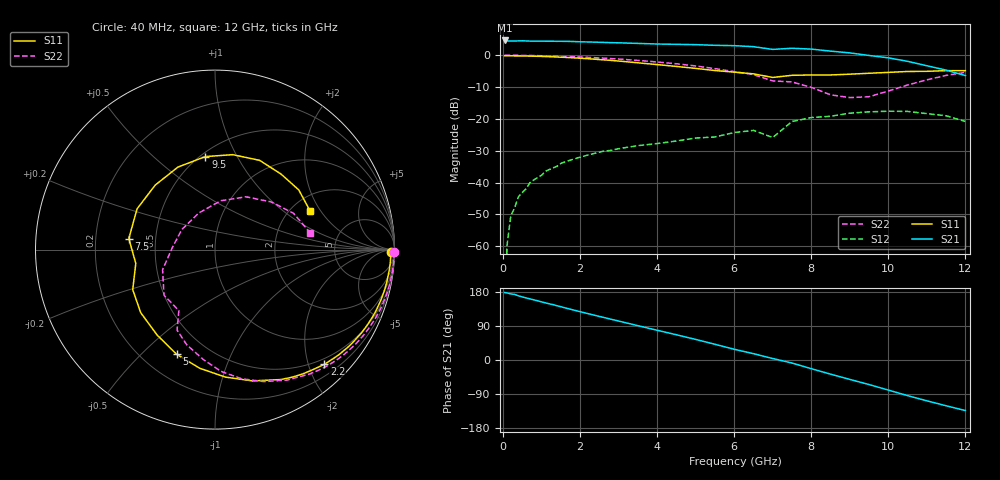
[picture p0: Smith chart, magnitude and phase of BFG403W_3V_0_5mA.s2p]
! BFG403W
! V1=8.248E-001V,V2=3.000E+000V, I1=6.127E-006A, I2=5.000E-004A
# GHz  S  MA  R 50
!  S11  S21  S12  S22
!Freq(GHz)  Mag  Ang  Mag  Ang  Mag  Ang  Mag  Ang
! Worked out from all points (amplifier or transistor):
!   44 points, 40 MHz to 12 GHz, reference 50 ohm
!   highest |S21| = 4.6 dB at 40 MHz (marker M1)
!   |S21| within 3 dB of that: start of sweep to 8.222 GHz
!   S11 on the Smith chart (normalised r, x): 40 MHz: 62, -45; 2.2 GHz: 0.39, -2.28; 5 GHz: 0.34, -0.64; 7.5 GHz: 0.35, +0.06; 9.5 GHz: 0.53, +0.75; 12 GHz: 2.51, +1.61
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0.04  0.979 -0.9  1.708 178.1  0 67.8  0.999 -0.7
0.1  0.98 -2.2  1.676 177.0  0.001 94.3  0.998 -1.8
0.2  0.979 -4.2  1.674 174.4  0.003 86.4  0.997 -3.6
0.4  0.976 -8.1  1.682 169.3  0.006 83.3  0.996 -7.2
0.7  0.969 -14.8  1.669 161.2  0.01 77.3  0.99 -12.6
1.1  0.954 -23.3  1.663 150.8  0.015 71.1  0.979 -19.8
1.7  0.92 -36.0  1.652 135.3  0.022 61.8  0.954 -30.3
2.2  0.883 -46.4  1.617 122.5  0.027 54.6  0.927 -39.0
3  0.811 -63.2  1.568 102.8  0.034 45.0  0.871 -52.7
3.5  0.761 -74.0  1.535 90.6  0.038 40.2  0.83 -61.2
4.5  0.667 -97.2  1.485 66.6  0.045 32.6  0.735 -78.3
5  0.621 -110.1  1.467 54.2  0.05 28.5  0.679 -87.2
6  0.543 -139.6  1.415 28.3  0.061 17.9  0.553 -106.6
6.5  0.51 -154.0  1.364 16.7  0.066 21.4  0.496 -115.2
7  0.448 -170.1  1.236 3.9  0.051 23.9  0.395 -120.7
7.5  0.484 172.7  1.288 -8.0  0.091 15.3  0.381 -138.2
8  0.49 152.4  1.249 -22.9  0.105 0.7  0.313 -158.9
8.5  0.49 132.9  1.161 -37.3  0.11 -11.1  0.239 177.9
9.5  0.521 95.9  0.992 -64.8  0.129 -36.5  0.223 114.0
10.5  0.556 63.4  0.803 -94.0  0.131 -65.7  0.341 59.6
11  0.559 48.8  0.684 -107.7  0.121 -81.2  0.411 40.2
12  0.572 22.2  0.479 -133.4  0.091 -115.5  0.539 9.8
